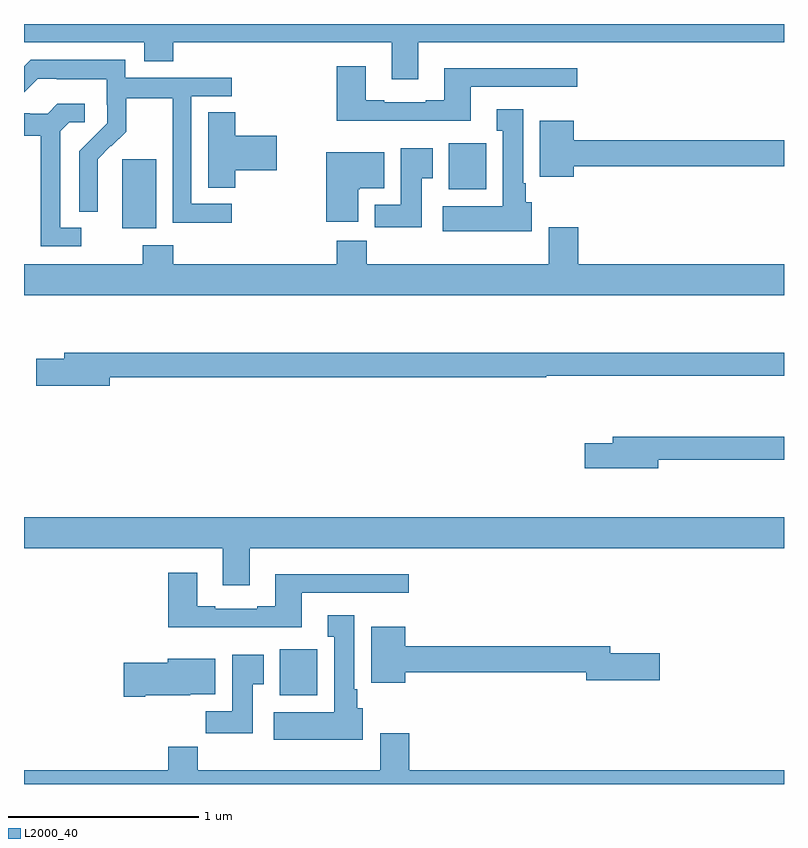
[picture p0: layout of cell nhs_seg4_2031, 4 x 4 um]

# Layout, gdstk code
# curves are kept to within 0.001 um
import gdstk
lib = gdstk.Library(unit=1e-6, precision=1e-09)
def R(c, l, rs):  # rectangles x0, y0, x1, y1
    for r in rs: c.add(gdstk.rectangle(r[:2], r[2:], *l))
def P(c, l, *ps):  # polygons
    for p in ps: c.add(gdstk.Polygon(p, *l))
L2000_40 = (2000, 40)

nhs_seg4_2031 = lib.new_cell('nhs_seg4_2031')
R(nhs_seg4_2031, L2000_40, [(216.347,809.366,216.544,809.608), (215.516,811.826,215.695,812.187), (217.235,812.03,217.432,812.272)])
P(nhs_seg4_2031, L2000_40, [(217.075,812.804),(219,812.804),(219,812.9),(215,812.9),(215,812.804),(215.633,812.804),(215.633,812.705),(215.786,812.705),(215.786,812.804),(216.935,812.804),(216.935,812.61),(217.075,812.61)],
  [(216.094,811.953),(215.88,811.953),(215.88,812.52),(216.094,812.52),(216.094,812.616),(215.532,812.616),(215.532,812.713),(215.035,812.713),(215,812.678),(215,812.54),(215.073,812.613),(215.173,812.613),(215.173,812.609),(215.436,812.609),(215.436,812.475),(215.438,812.475),(215.438,812.378),(215.292,812.23),(215.292,811.912),(215.388,811.912),(215.387,812.189),(215.457,812.259),(215.46,812.256),(215.537,812.333),(215.537,812.508),(215.782,812.508),(215.782,812.284),(215.784,812.284),(215.784,811.855),(216.094,811.855)],
  [(217.351,812.571),(217.912,812.571),(217.912,812.668),(217.211,812.668),(217.211,812.5),(217.115,812.5),(217.115,812.487),(216.895,812.487),(216.895,812.5),(216.799,812.5),(216.799,812.677),(216.647,812.677),(216.647,812.39),(217.351,812.39)],
  [(215.302,811.827),(215.191,811.827),(215.191,812.335),(215.238,812.382),(215.32,812.382),(215.32,812.479),(215.176,812.479),(215.124,812.427),(215.03,812.427),(215.03,812.43),(215,812.43),(215,812.312),(215.087,812.312),(215.087,811.731),(215.302,811.731)],
  [(217.672,811.962),(217.642,811.962),(217.642,812.062),(217.627,812.062),(217.627,812.452),(217.487,812.452),(217.487,812.339),(217.52,812.339),(217.52,811.942),(217.203,811.942),(217.203,811.808),(217.672,811.808)],
  [(216.113,812.129),(216.331,812.129),(216.331,812.312),(216.113,812.312),(216.113,812.435),(215.969,812.435),(215.969,812.038),(216.113,812.038)],
  [(217.894,812.152),(219,812.152),(219,812.288),(217.894,812.288),(217.894,812.392),(217.715,812.392),(217.715,812.096),(217.894,812.096)],
  [(217.093,812.089),(217.15,812.089),(217.15,812.245),(216.983,812.245),(216.983,811.948),(216.845,811.948),(216.845,811.83),(217.093,811.83)],
  [(216.76,812.03),(216.766,812.03),(216.766,812.036),(216.895,812.036),(216.895,812.224),(216.59,812.224),(216.59,811.86),(216.76,811.86)],
  [(219,811.636),(217.916,811.636),(217.916,811.831),(217.763,811.831),(217.763,811.636),(216.803,811.636),(216.803,811.76),(216.647,811.76),(216.647,811.636),(215.786,811.636),(215.786,811.735),(215.626,811.735),(215.626,811.636),(215,811.636),(215,811.472),(219,811.472)],
  [(215.452,811.042),(217.748,811.042),(217.748,811.05),(219,811.05),(219,811.171),(215.213,811.171),(215.213,811.137),(215.064,811.137),(215.064,810.995),(215.452,810.995)],
  [(218.338,810.606),(219,810.606),(219,810.727),(218.099,810.727),(218.099,810.693),(217.95,810.693),(217.95,810.563),(218.338,810.563)],
  [(216.187,810.14),(219,810.14),(219,810.304),(215,810.304),(215,810.14),(216.047,810.14),(216.047,809.946),(216.187,809.946)],
  [(216.463,809.907),(217.024,809.907),(217.024,810.004),(216.323,810.004),(216.323,809.836),(216.227,809.836),(216.227,809.823),(216.007,809.823),(216.007,809.836),(215.911,809.836),(215.911,810.013),(215.759,810.013),(215.759,809.726),(216.463,809.726)],
  [(216.784,809.298),(216.754,809.298),(216.754,809.398),(216.739,809.398),(216.739,809.788),(216.599,809.788),(216.599,809.675),(216.632,809.675),(216.632,809.278),(216.315,809.278),(216.315,809.132),(216.784,809.132)],
  [(217.006,809.488),(217.958,809.488),(217.958,809.446),(218.347,809.446),(218.347,809.588),(218.086,809.588),(218.086,809.624),(217.006,809.624),(217.006,809.728),(216.827,809.728),(216.827,809.432),(217.006,809.432)],
  [(216.205,809.425),(216.262,809.425),(216.262,809.581),(216.095,809.581),(216.095,809.284),(215.956,809.284),(215.956,809.166),(216.205,809.166)],
  [(215.638,809.366),(215.874,809.366),(215.874,809.372),(216.007,809.372),(216.007,809.56),(215.756,809.56),(215.756,809.537),(215.526,809.537),(215.526,809.359),(215.638,809.359)],
  [(219,808.972),(217.028,808.972),(217.028,809.167),(216.875,809.167),(216.875,808.972),(215.915,808.972),(215.915,809.096),(215.759,809.096),(215.759,808.972),(215,808.972),(215,808.9),(219,808.9)])

lib.write_gds('nhs_seg4_2031.gds')
